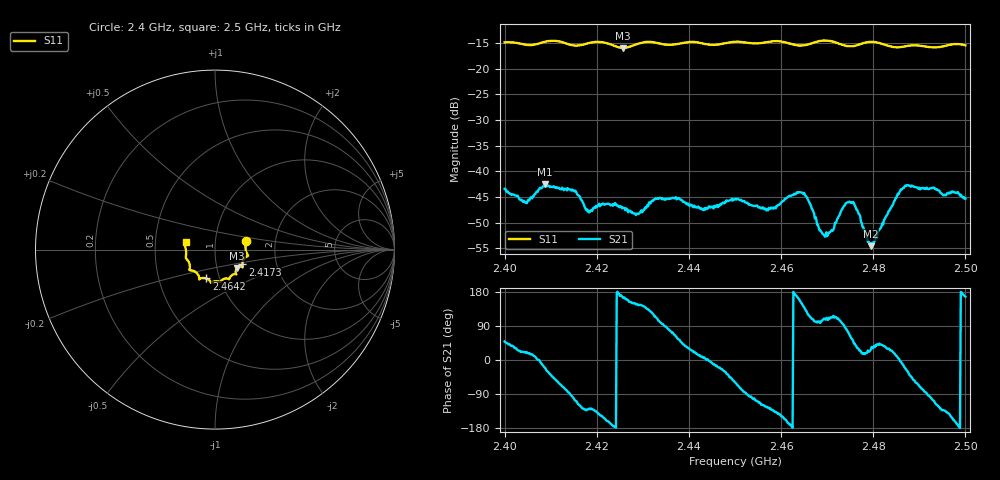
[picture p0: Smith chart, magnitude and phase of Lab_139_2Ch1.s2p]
# Hz S RI R 50
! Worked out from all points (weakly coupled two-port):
!   601 points, 2.4 GHz to 2.5 GHz, reference 50 ohm
!   highest |S21| = -42.51 dB at 2.4088 GHz (marker M1); lowest = -54.6 dB at 2.4795 GHz (marker M2)
!   lowest |S11| = -15.9 dB at 2.4257 GHz (marker M3), VSWR 1.38, Z = 62.4 - j13.1 ohm
!   |S11| at or under -10 dB: start of sweep to end of sweep
!   S12 and S22 are empty: the file has one direction only
!   S11 on the Smith chart (normalised r, x): 2.4 GHz: 1.41, +0.14; 2.4173 GHz: 1.34, -0.23; 2.4642 GHz: 0.86, -0.29; 2.5 GHz: 0.72, +0.06
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2.4e9  0.1736 0.0491  0.00446 0.0051  0 0  0 0
2.4045e9  0.1701 0.0192  0.00468 0.00172  0 0  0 0
2.408833e9  0.1813 -0.0274  0.00696 -0.00275  0 0  0 0
2.415e9  0.1589 -0.0559  -0.00124 -0.00642  0 0  0 0
2.416667e9  0.1527 -0.0751  -0.00294 -0.00437  0 0  0 0
2.417333e9  0.1521 -0.0824  -0.00297 -0.00346  0 0  0 0
2.425667e9  0.1224 -0.1025  -0.00429 0.00117  0 0  0 0
2.428833e9  0.1155 -0.1304  -0.00325 0.0021  0 0  0 0
2.433333e9  0.1127 -0.1365  -0.00137 0.00523  0 0  0 0
2.443e9  0.0693 -0.1618  0.00427 0.000523  0 0  0 0
2.45e9  0.0295 -0.1806  0.00279 -0.00464  0 0  0 0
2.457167e9  -0.0149 -0.1815  -0.00246 -0.00338  0 0  0 0
2.464167e9  -0.0482 -0.161  -0.00568 0.00265  0 0  0 0
2.466667e9  -0.0763 -0.1595  -0.00137 0.00412  0 0  0 0
2.468333e9  -0.086 -0.1649  -0.000518 0.00263  0 0  0 0
2.469667e9  -0.0875 -0.1668  -0.00066 0.00224  0 0  0 0
2.473833e9  -0.0962 -0.1378  0.000265 0.00467  0 0  0 0
2.475333e9  -0.1098 -0.1236  0.00282 0.00416  0 0  0 0
2.4795e9  -0.1421 -0.1149  0.00166 0.000868  0 0  0 0
2.483333e9  -0.1405 -0.0895  0.00355 0.00207  0 0  0 0
2.487333e9  -0.1573 -0.0546  0.00647 -0.00343  0 0  0 0
2.5e9  -0.1638 0.0417  -0.00531 0.00121  0 0  0 0
